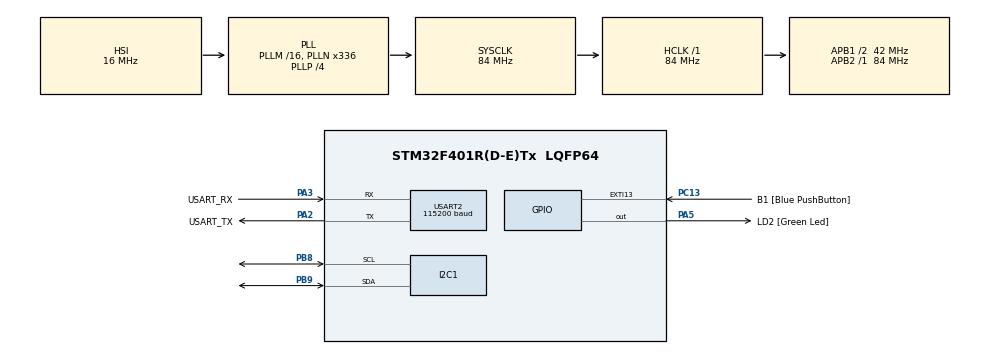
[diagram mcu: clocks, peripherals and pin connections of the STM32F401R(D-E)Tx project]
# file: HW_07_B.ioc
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Dma.Request0=USART2_TX
Dma.USART2_TX.0.Direction=DMA_MEMORY_TO_PERIPH
Dma.USART2_TX.0.FIFOMode=DMA_FIFOMODE_DISABLE
Dma.USART2_TX.0.Instance=DMA1_Stream6
Dma.USART2_TX.0.MemDataAlignment=DMA_MDATAALIGN_BYTE
Dma.USART2_TX.0.MemInc=DMA_MINC_ENABLE
Dma.USART2_TX.0.Mode=DMA_NORMAL
Dma.USART2_TX.0.PeriphDataAlignment=DMA_PDATAALIGN_BYTE
Dma.USART2_TX.0.PeriphInc=DMA_PINC_DISABLE
Dma.USART2_TX.0.Priority=DMA_PRIORITY_LOW
Mcu.Family=STM32F4
Mcu.Name=STM32F401R(D-E)Tx
Mcu.Package=LQFP64
NVIC.DMA1_Stream6_IRQn=true\:0\:0\:false\:false\:true\:false\:true\:true
NVIC.PriorityGroup=NVIC_PRIORITYGROUP_0
NVIC.TIM2_IRQn=true\:0\:0\:false\:false\:true\:true\:true\:true
NVIC.USART2_IRQn=true\:0\:0\:false\:false\:true\:true\:true\:true
PA13.GPIO_Label=TMS
PA13.Mode=Serial_Wire
PA13.Signal=SYS_JTMS-SWDIO
PA14.GPIO_Label=TCK
PA14.Mode=Serial_Wire
PA14.Signal=SYS_JTCK-SWCLK
PA2.GPIO_Label=USART_TX
PA2.GPIO_Mode=GPIO_MODE_AF_PP
PA2.GPIO_PuPd=GPIO_NOPULL
PA2.GPIO_Speed=GPIO_SPEED_FREQ_LOW
PA2.Mode=Asynchronous
PA2.Signal=USART2_TX
PA3.GPIO_Label=USART_RX
PA3.GPIO_Mode=GPIO_MODE_AF_PP
PA3.GPIO_PuPd=GPIO_NOPULL
PA3.GPIO_Speed=GPIO_SPEED_FREQ_LOW
PA3.Mode=Asynchronous
PA3.Signal=USART2_RX
PA5.GPIO_Label=LD2 [Green Led]
PA5.GPIO_Mode=GPIO_MODE_OUTPUT_PP
PA5.GPIO_PuPd=GPIO_NOPULL
PA5.GPIO_Speed=GPIO_SPEED_FREQ_LOW
PA5.Signal=GPIO_Output
PB3.GPIO_Label=SWO
PB3.Signal=SYS_JTDO-SWO
PB8.Mode=I2C
PB8.Signal=I2C1_SCL
PB9.Mode=I2C
PB9.Signal=I2C1_SDA
PC13-ANTI_TAMP.GPIO_Label=B1 [Blue PushButton]
PC13-ANTI_TAMP.GPIO_ModeDefaultEXTI=GPIO_MODE_IT_FALLING
PC13-ANTI_TAMP.GPIO_PuPd=GPIO_NOPULL
PC13-ANTI_TAMP.Signal=GPXTI13
PC14-OSC32_IN.Mode=LSE-External-Oscillator
PC14-OSC32_IN.Signal=RCC_OSC32_IN
PC15-OSC32_OUT.Mode=LSE-External-Oscillator
PC15-OSC32_OUT.Signal=RCC_OSC32_OUT
PH0\ -\ OSC_IN.Mode=HSE-External-Clock-Source
PH0\ -\ OSC_IN.Signal=RCC_OSC_IN
PH1\ -\ OSC_OUT.Mode=HSE-External-Clock-Source
PH1\ -\ OSC_OUT.Signal=RCC_OSC_OUT
ProjectManager.HeapSize=0x200
ProjectManager.StackSize=0x400
ProjectManager.TargetToolchain=STM32CubeIDE
RCC.48MHZClocksFreq_Value=48000000
RCC.AHBFreq_Value=84000000
RCC.APB1CLKDivider=RCC_HCLK_DIV2
RCC.APB1Freq_Value=42000000
RCC.APB1TimFreq_Value=84000000
RCC.APB2Freq_Value=84000000
RCC.APB2TimFreq_Value=84000000
RCC.CortexFreq_Value=84000000
RCC.HCLKFreq_Value=84000000
RCC.HSE_VALUE=8000000
RCC.HSI_VALUE=16000000
RCC.PLLN=336
RCC.PLLP=RCC_PLLP_DIV4
RCC.PLLQ=7
RCC.SYSCLKFreq_VALUE=84000000
RCC.SYSCLKSource=RCC_SYSCLKSOURCE_PLLCLK
RCC.VCOOutputFreq_Value=336000000
TIM2.Period=10000-1
TIM2.Prescaler=1680-1
USART2.BaudRate=115200
USART2.VirtualMode=VM_ASYNC
VP_TIM2_VS_ClockSourceINT.Mode=Internal
board=NUCLEO-F401RE

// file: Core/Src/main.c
/* USER CODE BEGIN Header */
/**
  ******************************************************************************
  * @file           : main.c
  * @brief          : Main program body
  ******************************************************************************
  * @attention
  *
  * Copyright (c) 2024 STMicroelectronics.
  * All rights reserved.
  *
  * This software is licensed under terms that can be found in the LICENSE file
  * in the root directory of this software component.
  * If no LICENSE file comes with this software, it is provided AS-IS.
  *
  ******************************************************************************
  */
/* USER CODE END Header */
#include "main.h"

/* USER CODE BEGIN PD */
#define TEMP_ADDRESS 145 // 0b10010000 + 1 = 0x91 = 145 address of the temperature sensor when reading
#define TEMP_ADDRESS_W 144 //0b10010000 = 0x90 = 144 address of the temperature sensor when writing
#define SAMPLES 5
/* USER CODE END PD */

I2C_HandleTypeDef hi2c1;

TIM_HandleTypeDef htim2;

UART_HandleTypeDef huart2;
DMA_HandleTypeDef hdma_usart2_tx;

/* USER CODE BEGIN PV */
int zero = 0;
/* USER CODE END PV */

void SystemClock_Config(void);
static void MX_GPIO_Init(void);
static void MX_DMA_Init(void);
static void MX_USART2_UART_Init(void);
static void MX_I2C1_Init(void);
static void MX_TIM2_Init(void);
/* USER CODE BEGIN PFP */
float temperatures[SAMPLES];
int cnt = 0;
int neg = 0;
/* USER CODE END PFP */

/* USER CODE BEGIN 0 */

void insertionSort() {
	for(int i = 1; i < SAMPLES; i++) {
		float key = temperatures[i];
		int j = i - 1;

		while(j >= 0 && temperatures[j] > key) {
			temperatures[j + 1] = temperatures[j];
			j--;
		}
		temperatures[j + 1] = key;
	}
}

int isNegative(uint8_t msb){
	return msb >> 7;
}

void HAL_TIM_PeriodElapsedCallback(TIM_HandleTypeDef* htim){
	if(htim->Instance == TIM2){
		cnt++; //increment the counter
		uint8_t p[2] = {0,0}; //array that memorize the byte coming from the sensor
			  int len = 0;
			  char string[64];
			  if(HAL_I2C_Master_Receive(&hi2c1, TEMP_ADDRESS, &p, 2, 100)== HAL_OK){

				  p[1]= p[1]>>5; //right shift the fractional part bits of 5 positions
				  if(isNegative(p[0])){
					  neg=1;
					  p[0] =~ p[0]; //complement of 1, to obtain the positive part
					  p[1] ^= 0b00000111; // XOR operator
					  if (++p[1] > 0b00000111){ //if there is overflow
						  p[1] = 0; //the fractional part become zero
						  p[0]++; //increment the integer part
					  }
				  }
				  float x = p[0] + (float)p[1]/8.0; //resolution of 3 bits, so 2^3=8
				  temperatures[cnt - 1] = x; //save the sample in the array

				  //if all the samples have been collected
				  if(cnt == SAMPLES && HAL_UART_GetState(&huart2)==HAL_UART_STATE_READY ){
					  cnt = 0;
					  insertionSort(); //sort the samples
					  if(neg==1){ //if the temperature is negative
						  //print the median value
						  len = snprintf(string, 64, "Temperature -%.3f C\n", temperatures[SAMPLES / 2]);
						  neg=0;
					  }else{
						  len = snprintf(string, 64, "Temperature %.3f C\n", temperatures[SAMPLES / 2]);
					  }
					  HAL_UART_Transmit_DMA(&huart2, string, len);
				  }
			  }
	}
}
/* USER CODE END 0 */

int main(void)
{

  /* MCU Configuration--------------------------------------------------------*/

  /* Reset of all peripherals, Initializes the Flash interface and the Systick. */
  HAL_Init();

  /* Configure the system clock */
  SystemClock_Config();

  /* Initialize all configured peripherals */
  MX_GPIO_Init();
  MX_DMA_Init();
  MX_USART2_UART_Init();
  MX_I2C1_Init();
  MX_TIM2_Init();
  /* USER CODE BEGIN 2 */
    HAL_TIM_Base_Start_IT(&htim2);
    HAL_I2C_Master_Transmit(&hi2c1, TEMP_ADDRESS_W,&zero , 1, 10);
  /* USER CODE END 2 */

  /* Infinite loop */
  while (1)
  {

  }
}

void SystemClock_Config(void)
{
  RCC_OscInitTypeDef RCC_OscInitStruct = {0};
  RCC_ClkInitTypeDef RCC_ClkInitStruct = {0};

  /** Configure the main internal regulator output voltage
  */
  __HAL_RCC_PWR_CLK_ENABLE();
  __HAL_PWR_VOLTAGESCALING_CONFIG(PWR_REGULATOR_VOLTAGE_SCALE2);

  /** Initializes the RCC Oscillators according to the specified parameters
  * in the RCC_OscInitTypeDef structure.
  */
  RCC_OscInitStruct.OscillatorType = RCC_OSCILLATORTYPE_HSI;
  RCC_OscInitStruct.HSIState = RCC_HSI_ON;
  RCC_OscInitStruct.HSICalibrationValue = RCC_HSICALIBRATION_DEFAULT;
  RCC_OscInitStruct.PLL.PLLState = RCC_PLL_ON;
  RCC_OscInitStruct.PLL.PLLSource = RCC_PLLSOURCE_HSI;
  RCC_OscInitStruct.PLL.PLLM = 16;
  RCC_OscInitStruct.PLL.PLLN = 336;
  RCC_OscInitStruct.PLL.PLLP = RCC_PLLP_DIV4;
  RCC_OscInitStruct.PLL.PLLQ = 7;
  if (HAL_RCC_OscConfig(&RCC_OscInitStruct) != HAL_OK)
  {
    Error_Handler();
  }

  /** Initializes the CPU, AHB and APB buses clocks
  */
  RCC_ClkInitStruct.ClockType = RCC_CLOCKTYPE_HCLK|RCC_CLOCKTYPE_SYSCLK
                              |RCC_CLOCKTYPE_PCLK1|RCC_CLOCKTYPE_PCLK2;
  RCC_ClkInitStruct.SYSCLKSource = RCC_SYSCLKSOURCE_PLLCLK;
  RCC_ClkInitStruct.AHBCLKDivider = RCC_SYSCLK_DIV1;
  RCC_ClkInitStruct.APB1CLKDivider = RCC_HCLK_DIV2;
  RCC_ClkInitStruct.APB2CLKDivider = RCC_HCLK_DIV1;

  if (HAL_RCC_ClockConfig(&RCC_ClkInitStruct, FLASH_LATENCY_2) != HAL_OK)
  {
    Error_Handler();
  }
}

static void MX_I2C1_Init(void)
{

  hi2c1.Instance = I2C1;
  hi2c1.Init.ClockSpeed = 100000;
  hi2c1.Init.DutyCycle = I2C_DUTYCYCLE_2;
  hi2c1.Init.OwnAddress1 = 0;
  hi2c1.Init.AddressingMode = I2C_ADDRESSINGMODE_7BIT;
  hi2c1.Init.DualAddressMode = I2C_DUALADDRESS_DISABLE;
  hi2c1.Init.OwnAddress2 = 0;
  hi2c1.Init.GeneralCallMode = I2C_GENERALCALL_DISABLE;
  hi2c1.Init.NoStretchMode = I2C_NOSTRETCH_DISABLE;
  if (HAL_I2C_Init(&hi2c1) != HAL_OK)
  {
    Error_Handler();
  }

}

static void MX_TIM2_Init(void)
{

  TIM_ClockConfigTypeDef sClockSourceConfig = {0};
  TIM_MasterConfigTypeDef sMasterConfig = {0};

  htim2.Instance = TIM2;
  htim2.Init.Prescaler = 1680-1;
  htim2.Init.CounterMode = TIM_COUNTERMODE_UP;
  htim2.Init.Period = 10000-1;
  htim2.Init.ClockDivision = TIM_CLOCKDIVISION_DIV1;
  htim2.Init.AutoReloadPreload = TIM_AUTORELOAD_PRELOAD_DISABLE;
  if (HAL_TIM_Base_Init(&htim2) != HAL_OK)
  {
    Error_Handler();
  }
  sClockSourceConfig.ClockSource = TIM_CLOCKSOURCE_INTERNAL;
  if (HAL_TIM_ConfigClockSource(&htim2, &sClockSourceConfig) != HAL_OK)
  {
    Error_Handler();
  }
  sMasterConfig.MasterOutputTrigger = TIM_TRGO_RESET;
  sMasterConfig.MasterSlaveMode = TIM_MASTERSLAVEMODE_DISABLE;
  if (HAL_TIMEx_MasterConfigSynchronization(&htim2, &sMasterConfig) != HAL_OK)
  {
    Error_Handler();
  }

}

static void MX_USART2_UART_Init(void)
{

  huart2.Instance = USART2;
  huart2.Init.BaudRate = 115200;
  huart2.Init.WordLength = UART_WORDLENGTH_8B;
  huart2.Init.StopBits = UART_STOPBITS_1;
  huart2.Init.Parity = UART_PARITY_NONE;
  huart2.Init.Mode = UART_MODE_TX_RX;
  huart2.Init.HwFlowCtl = UART_HWCONTROL_NONE;
  huart2.Init.OverSampling = UART_OVERSAMPLING_16;
  if (HAL_UART_Init(&huart2) != HAL_OK)
  {
    Error_Handler();
  }

}

static void MX_DMA_Init(void)
{

  /* DMA controller clock enable */
  __HAL_RCC_DMA1_CLK_ENABLE();

  /* DMA interrupt init */
  /* DMA1_Stream6_IRQn interrupt configuration */
  HAL_NVIC_SetPriority(DMA1_Stream6_IRQn, 0, 0);
  HAL_NVIC_EnableIRQ(DMA1_Stream6_IRQn);

}

static void MX_GPIO_Init(void)
{
  GPIO_InitTypeDef GPIO_InitStruct = {0};

  /* GPIO Ports Clock Enable */
  __HAL_RCC_GPIOC_CLK_ENABLE();
  __HAL_RCC_GPIOH_CLK_ENABLE();
  __HAL_RCC_GPIOA_CLK_ENABLE();
  __HAL_RCC_GPIOB_CLK_ENABLE();

  /*Configure GPIO pin Output Level */
  HAL_GPIO_WritePin(LD2_GPIO_Port, LD2_Pin, GPIO_PIN_RESET);

  /*Configure GPIO pin : B1_Pin */
  GPIO_InitStruct.Pin = B1_Pin;
  GPIO_InitStruct.Mode = GPIO_MODE_IT_FALLING;
  GPIO_InitStruct.Pull = GPIO_NOPULL;
  HAL_GPIO_Init(B1_GPIO_Port, &GPIO_InitStruct);

  /*Configure GPIO pin : LD2_Pin */
  GPIO_InitStruct.Pin = LD2_Pin;
  GPIO_InitStruct.Mode = GPIO_MODE_OUTPUT_PP;
  GPIO_InitStruct.Pull = GPIO_NOPULL;
  GPIO_InitStruct.Speed = GPIO_SPEED_FREQ_LOW;
  HAL_GPIO_Init(LD2_GPIO_Port, &GPIO_InitStruct);

}

void Error_Handler(void)
{
  __disable_irq();
  while (1)
  {
  }
}
